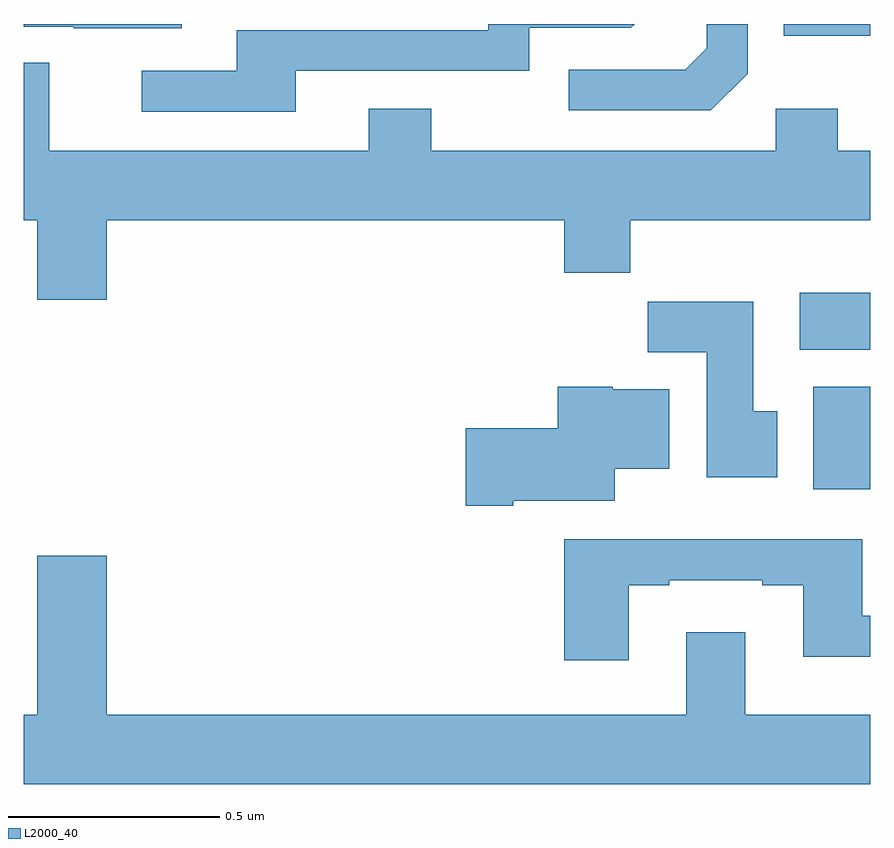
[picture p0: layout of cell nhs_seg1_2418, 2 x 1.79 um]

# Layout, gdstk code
import gdstk
lib = gdstk.Library(unit=1e-6, precision=1e-09)
def R(c, l, rs):  # rectangles x0, y0, x1, y1
    for r in rs: c.add(gdstk.rectangle(r[:2], r[2:], *l))
def P(c, l, *ps):  # polygons
    for p in ps: c.add(gdstk.Polygon(p, *l))
L2000_40 = (2000, 40)

nhs_seg1_2418 = lib.new_cell('nhs_seg1_2418')
R(nhs_seg1_2418, L2000_40, [(142.865,547.1,143,547.342), (142.833,547.43,143,547.564), (142.795,548.171,143,548.199)])
P(nhs_seg1_2418, L2000_40, [(141.643,548.088),(142.194,548.088),(142.194,548.19),(142.434,548.19),(142.443,548.199),(142.098,548.199),(142.098,548.184),(141.503,548.184),(141.503,548.088),(141.279,548.088),(141.279,547.992),(141.643,547.992)],
  [(142.71,548.082),(142.71,548.199),(142.614,548.199),(142.614,548.142),(142.563,548.091),(142.287,548.091),(142.287,547.995),(142.623,547.995)],
  [(141.373,548.199),(141,548.199),(141,548.193),(141.119,548.193),(141.119,548.189),(141.373,548.189)],
  [(141.196,547.736),(142.277,547.736),(142.277,547.612),(142.433,547.612),(142.433,547.736),(143,547.736),(143,547.9),(142.923,547.9),(142.923,547.999),(142.776,547.999),(142.776,547.9),(141.963,547.9),(141.963,547.999),(141.815,547.999),(141.815,547.9),(141.061,547.9),(141.061,548.108),(141,548.108),(141,547.736),(141.032,547.736),(141.032,547.548),(141.196,547.548)],
  [(142.78,547.284),(142.723,547.284),(142.723,547.543),(142.474,547.543),(142.474,547.424),(142.613,547.424),(142.613,547.128),(142.78,547.128)],
  [(142.156,547.073),(142.396,547.073),(142.396,547.148),(142.525,547.148),(142.525,547.336),(142.392,547.336),(142.392,547.342),(142.262,547.342),(142.262,547.244),(142.044,547.244),(142.044,547.061),(142.156,547.061)],
  [(142.429,546.873),(142.525,546.873),(142.525,546.885),(142.745,546.885),(142.745,546.873),(142.841,546.873),(142.841,546.704),(143,546.704),(143,546.801),(142.981,546.801),(142.981,546.982),(142.277,546.982),(142.277,546.696),(142.429,546.696)],
  [(143,546.568),(142.705,546.568),(142.705,546.763),(142.565,546.763),(142.565,546.568),(141.196,546.568),(141.196,546.943),(141.032,546.943),(141.032,546.568),(141,546.568),(141,546.404),(143,546.404)])

lib.write_gds('nhs_seg1_2418.gds')
